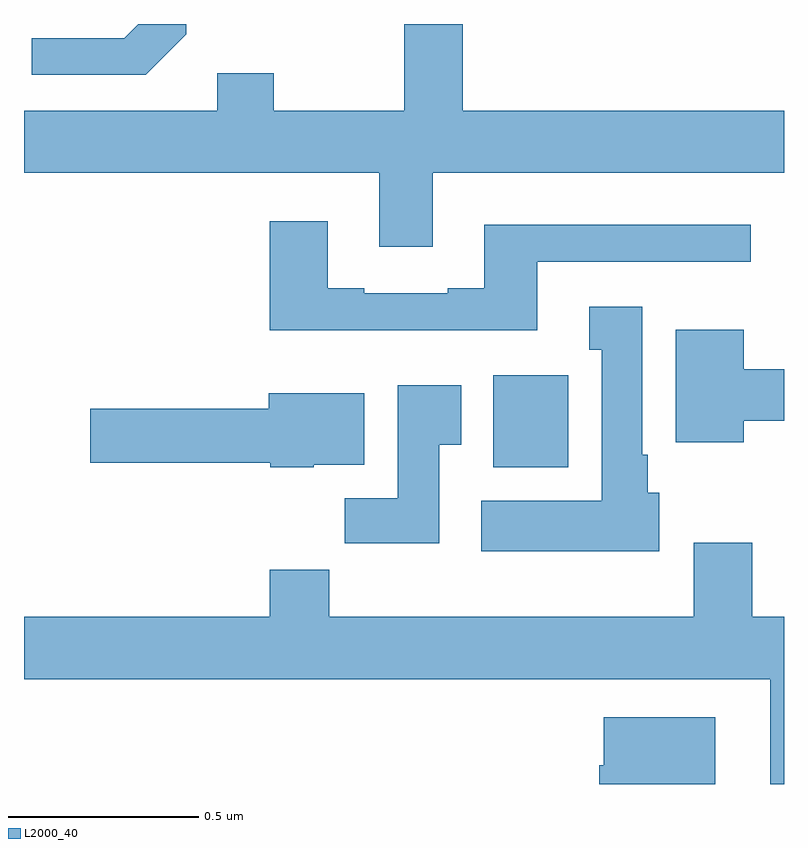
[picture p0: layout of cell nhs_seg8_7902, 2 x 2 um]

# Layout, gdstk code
import gdstk
lib = gdstk.Library(unit=1e-6, precision=1e-09)
def R(c, l, rs):  # rectangles x0, y0, x1, y1
    for r in rs: c.add(gdstk.rectangle(r[:2], r[2:], *l))
def P(c, l, *ps):  # polygons
    for p in ps: c.add(gdstk.Polygon(p, *l))
L2000_40 = (2000, 40)

nhs_seg8_7902 = lib.new_cell('nhs_seg8_7902')
R(nhs_seg8_7902, L2000_40, [(217.235,1107.734,217.432,1107.976)])
P(nhs_seg8_7902, L2000_40, [(217.075,1108.508),(218,1108.508),(218,1108.672),(217.154,1108.672),(217.154,1108.9),(217.001,1108.9),(217.001,1108.672),(216.657,1108.672),(216.657,1108.771),(216.509,1108.771),(216.509,1108.672),(216,1108.672),(216,1108.508),(216.935,1108.508),(216.935,1108.314),(217.075,1108.314)],
  [(216.427,1108.873),(216.427,1108.9),(216.301,1108.9),(216.264,1108.863),(216.021,1108.863),(216.021,1108.767),(216.321,1108.767)],
  [(217.351,1108.275),(217.912,1108.275),(217.912,1108.372),(217.211,1108.372),(217.211,1108.204),(217.115,1108.204),(217.115,1108.191),(216.895,1108.191),(216.895,1108.204),(216.799,1108.204),(216.799,1108.381),(216.647,1108.381),(216.647,1108.094),(217.351,1108.094)],
  [(217.672,1107.666),(217.642,1107.666),(217.642,1107.766),(217.627,1107.766),(217.627,1108.156),(217.487,1108.156),(217.487,1108.043),(217.52,1108.043),(217.52,1107.646),(217.203,1107.646),(217.203,1107.512),(217.672,1107.512)],
  [(217.894,1107.856),(218,1107.856),(218,1107.992),(217.894,1107.992),(217.894,1108.096),(217.715,1108.096),(217.715,1107.8),(217.894,1107.8)],
  [(217.093,1107.793),(217.15,1107.793),(217.15,1107.949),(216.983,1107.949),(216.983,1107.652),(216.844,1107.652),(216.844,1107.534),(217.093,1107.534)],
  [(216.762,1107.74),(216.895,1107.74),(216.895,1107.928),(216.644,1107.928),(216.644,1107.887),(216.174,1107.887),(216.174,1107.745),(216.648,1107.745),(216.648,1107.734),(216.762,1107.734)],
  [(218,1107.34),(217.916,1107.34),(217.916,1107.535),(217.763,1107.535),(217.763,1107.34),(216.803,1107.34),(216.803,1107.464),(216.647,1107.464),(216.647,1107.34),(216,1107.34),(216,1107.176),(217.964,1107.176),(217.964,1106.9),(218,1106.9)],
  [(217.819,1107.076),(217.526,1107.076),(217.526,1106.949),(217.514,1106.949),(217.514,1106.9),(217.819,1106.9)])

lib.write_gds('nhs_seg8_7902.gds')
